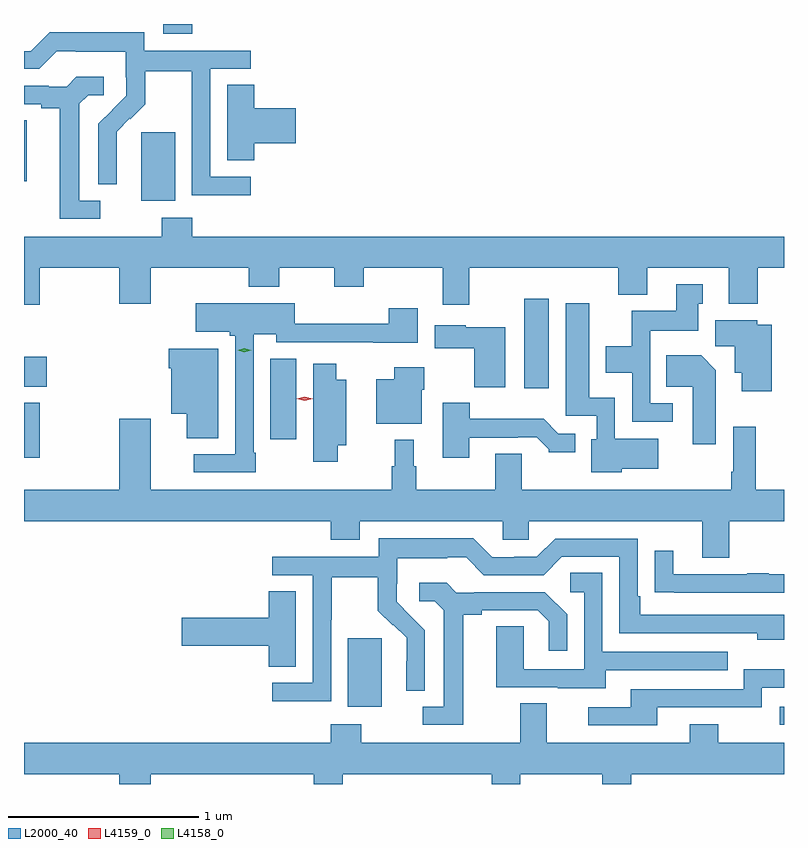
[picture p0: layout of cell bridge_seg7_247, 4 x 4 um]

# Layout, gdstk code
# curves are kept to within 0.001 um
import gdstk
lib = gdstk.Library(unit=1e-6, precision=1e-09)
def R(c, l, rs):  # rectangles x0, y0, x1, y1
    for r in rs: c.add(gdstk.rectangle(r[:2], r[2:], *l))
def P(c, l, *ps):  # polygons
    for p in ps: c.add(gdstk.Polygon(p, *l))
L2000_40 = (2000, 40)
L4158_0 = (4158, 0)
L4159_0 = (4159, 0)

bridge_seg7_247 = lib.new_cell('bridge_seg7_247')
R(bridge_seg7_247, L2000_40, [(216.435,1078.131,216.458,1078.227), (214.163,1078.226,214.342,1078.587), (212.458,1079.538,212.541,1079.827), (213.755,1079.634,213.892,1080.059), (215.09,1079.904,215.221,1080.373), (212.458,1079.912,212.578,1080.07), (213.074,1080.89,213.253,1081.251), (212.458,1080.993,212.473,1081.313), (213.191,1081.769,213.344,1081.82)])
P(bridge_seg7_247, L2000_40, [(213.652,1081.017),(213.438,1081.017),(213.438,1081.584),(213.652,1081.584),(213.652,1081.68),(213.09,1081.68),(213.09,1081.777),(212.593,1081.777),(212.493,1081.677),(212.458,1081.677),(212.458,1081.584),(212.538,1081.584),(212.631,1081.677),(212.731,1081.677),(212.731,1081.673),(212.994,1081.673),(212.994,1081.539),(212.996,1081.539),(212.996,1081.442),(212.85,1081.294),(212.85,1080.976),(212.946,1080.976),(212.945,1081.253),(213.015,1081.323),(213.018,1081.32),(213.095,1081.397),(213.095,1081.572),(213.34,1081.572),(213.34,1081.348),(213.342,1081.348),(213.342,1080.919),(213.652,1080.919)],
  [(212.86,1080.891),(212.749,1080.891),(212.749,1081.399),(212.796,1081.446),(212.878,1081.446),(212.878,1081.543),(212.734,1081.543),(212.682,1081.491),(212.588,1081.491),(212.588,1081.494),(212.458,1081.494),(212.458,1081.398),(212.549,1081.398),(212.549,1081.376),(212.645,1081.376),(212.645,1080.795),(212.86,1080.795)],
  [(213.671,1081.193),(213.889,1081.193),(213.889,1081.376),(213.671,1081.376),(213.671,1081.499),(213.527,1081.499),(213.527,1081.102),(213.671,1081.102)],
  [(213.641,1080.437),(213.801,1080.437),(213.801,1080.536),(214.09,1080.536),(214.09,1080.437),(214.245,1080.437),(214.245,1080.536),(214.661,1080.536),(214.661,1080.342),(214.801,1080.342),(214.801,1080.536),(215.585,1080.536),(215.585,1080.395),(215.737,1080.395),(215.737,1080.536),(216.167,1080.536),(216.167,1080.347),(216.32,1080.347),(216.32,1080.536),(216.458,1080.536),(216.458,1080.7),(213.344,1080.7),(213.344,1080.799),(213.184,1080.799),(213.184,1080.7),(212.458,1080.7),(212.458,1080.342),(212.541,1080.342),(212.541,1080.536),(212.96,1080.536),(212.96,1080.348),(213.124,1080.348),(213.124,1080.536),(213.641,1080.536)],
  [(215.872,1079.823),(215.754,1079.823),(215.754,1080.206),(216.007,1080.206),(216.007,1080.348),(216.031,1080.348),(216.031,1080.451),(215.891,1080.451),(215.891,1080.31),(215.656,1080.31),(215.656,1080.124),(215.519,1080.124),(215.519,1079.984),(215.658,1079.984),(215.658,1079.727),(215.872,1079.727)],
  [(213.679,1079.563),(213.666,1079.563),(213.666,1080.188),(213.786,1080.188),(213.786,1080.144),(214.295,1080.144),(214.295,1080.143),(214.531,1080.143),(214.531,1080.325),(214.379,1080.325),(214.379,1080.242),(213.882,1080.242),(213.882,1080.349),(213.363,1080.349),(213.363,1080.2),(213.54,1080.2),(213.54,1080.179),(213.57,1080.179),(213.57,1079.556),(213.351,1079.556),(213.351,1079.46),(213.679,1079.46)],
  [(215.604,1079.48),(215.797,1079.48),(215.797,1079.638),(215.568,1079.638),(215.568,1079.854),(215.434,1079.854),(215.434,1080.349),(215.309,1080.349),(215.309,1079.757),(215.472,1079.757),(215.472,1079.634),(215.444,1079.634),(215.444,1079.462),(215.604,1079.462)],
  [(216.394,1080.238),(216.318,1080.238),(216.318,1080.262),(216.095,1080.262),(216.095,1080.124),(216.2,1080.124),(216.2,1079.984),(216.236,1079.984),(216.236,1079.886),(216.394,1079.886)],
  [(214.99,1080.223),(214.782,1080.223),(214.782,1080.235),(214.62,1080.235),(214.62,1080.113),(214.828,1080.113),(214.828,1079.909),(214.99,1079.909)],
  [(213.481,1080.112),(213.221,1080.112),(213.221,1080.008),(213.233,1080.008),(213.233,1079.768),(213.314,1079.768),(213.314,1079.641),(213.481,1079.641)],
  [(216.1,1079.998),(216.022,1080.076),(215.839,1080.076),(215.839,1079.912),(215.978,1079.912),(215.978,1079.607),(216.1,1079.607)],
  [(214.11,1079.603),(214.153,1079.603),(214.153,1079.947),(214.102,1079.947),(214.102,1080.031),(213.98,1080.031),(213.98,1079.517),(214.11,1079.517)],
  [(214.552,1079.895),(214.564,1079.895),(214.564,1080.013),(214.406,1080.013),(214.406,1079.95),(214.313,1079.95),(214.313,1079.717),(214.552,1079.717)],
  [(214.801,1079.643),(215.057,1079.643),(215.057,1079.646),(215.156,1079.646),(215.22,1079.582),(215.22,1079.567),(215.359,1079.567),(215.359,1079.664),(215.271,1079.664),(215.193,1079.743),(214.804,1079.743),(214.804,1079.827),(214.661,1079.827),(214.661,1079.538),(214.801,1079.538)],
  [(214.408,1079.632),(214.408,1079.492),(214.393,1079.492),(214.393,1079.368),(213.124,1079.368),(213.124,1079.743),(212.96,1079.743),(212.96,1079.368),(212.458,1079.368),(212.458,1079.204),(214.073,1079.204),(214.073,1079.105),(214.225,1079.105),(214.225,1079.204),(214.977,1079.204),(214.977,1079.106),(215.115,1079.106),(215.115,1079.204),(216.029,1079.204),(216.029,1079.01),(216.169,1079.01),(216.169,1079.204),(216.458,1079.204),(216.458,1079.368),(216.308,1079.368),(216.308,1079.701),(216.192,1079.701),(216.192,1079.464),(216.18,1079.464),(216.18,1079.368),(215.077,1079.368),(215.077,1079.558),(214.937,1079.558),(214.937,1079.368),(214.522,1079.368),(214.522,1079.492),(214.51,1079.492),(214.51,1079.632)],
  [(214.074,1078.684),(214.077,1078.684),(214.077,1078.908),(214.321,1078.908),(214.321,1078.733),(214.398,1078.656),(214.401,1078.659),(214.472,1078.589),(214.472,1078.466),(214.47,1078.466),(214.47,1078.312),(214.566,1078.312),(214.566,1078.63),(214.42,1078.778),(214.42,1078.875),(214.422,1078.875),(214.422,1079.009),(214.685,1079.009),(214.685,1079.013),(214.785,1079.013),(214.878,1078.92),(215.193,1078.92),(215.289,1079.016),(215.592,1079.016),(215.592,1078.614),(216.317,1078.614),(216.317,1078.58),(216.458,1078.58),(216.458,1078.71),(215.701,1078.71),(215.701,1078.807),(215.688,1078.807),(215.688,1079.112),(215.253,1079.112),(215.157,1079.016),(215.039,1079.016),(215.039,1079.013),(214.923,1079.013),(214.823,1079.113),(214.326,1079.113),(214.326,1079.016),(213.765,1079.016),(213.765,1078.92),(213.978,1078.92),(213.978,1078.353),(213.765,1078.353),(213.765,1078.255),(214.074,1078.255)],
  [(216.458,1078.923),(216.377,1078.923),(216.377,1078.928),(216.265,1078.928),(216.265,1078.923),(215.875,1078.923),(215.875,1079.047),(215.779,1079.047),(215.779,1078.828),(215.881,1078.828),(215.881,1078.827),(216.458,1078.827)],
  [(215.521,1078.419),(216.161,1078.419),(216.161,1078.515),(215.502,1078.515),(215.502,1078.931),(215.334,1078.931),(215.334,1078.83),(215.406,1078.83),(215.406,1078.425),(215.088,1078.425),(215.088,1078.649),(214.943,1078.649),(214.943,1078.329),(215.267,1078.329),(215.267,1078.325),(215.521,1078.325)],
  [(214.771,1078.712),(214.867,1078.712),(214.867,1078.734),(215.162,1078.734),(215.219,1078.677),(215.219,1078.521),(215.316,1078.521),(215.316,1078.714),(215.2,1078.83),(214.828,1078.83),(214.828,1078.827),(214.734,1078.827),(214.682,1078.879),(214.539,1078.879),(214.539,1078.782),(214.62,1078.782),(214.667,1078.735),(214.667,1078.227),(214.557,1078.227),(214.557,1078.131),(214.771,1078.131)],
  [(213.889,1078.835),(213.746,1078.835),(213.746,1078.694),(213.288,1078.694),(213.288,1078.547),(213.746,1078.547),(213.746,1078.438),(213.889,1078.438)],
  [(215.791,1078.224),(216.342,1078.224),(216.342,1078.326),(216.458,1078.326),(216.458,1078.423),(216.246,1078.423),(216.246,1078.32),(215.651,1078.32),(215.651,1078.224),(215.427,1078.224),(215.427,1078.128),(215.791,1078.128)],
  [(214.135,1077.872),(214.919,1077.872),(214.919,1077.82),(215.071,1077.82),(215.071,1077.872),(215.501,1077.872),(215.501,1077.82),(215.654,1077.82),(215.654,1077.872),(216.458,1077.872),(216.458,1078.036),(216.111,1078.036),(216.111,1078.135),(215.963,1078.135),(215.963,1078.036),(215.209,1078.036),(215.209,1078.244),(215.069,1078.244),(215.069,1078.036),(214.233,1078.036),(214.233,1078.135),(214.073,1078.135),(214.073,1078.036),(212.458,1078.036),(212.458,1077.872),(212.96,1077.872),(212.96,1077.82),(213.124,1077.82),(213.124,1077.872),(213.983,1077.872),(213.983,1077.82),(214.135,1077.82)])
P(bridge_seg7_247, L4158_0, [(213.618,1080.093),(213.583,1080.104),(213.583,1080.104),(213.583,1080.104),(213.618,1080.113),(213.653,1080.103),(213.653,1080.103),(213.653,1080.103)])
P(bridge_seg7_247, L4159_0, [(213.936,1079.837),(213.894,1079.847),(213.894,1079.847),(213.894,1079.848),(213.936,1079.857),(213.977,1079.848),(213.977,1079.847),(213.977,1079.847)])

lib.write_gds('bridge_seg7_247.gds')
